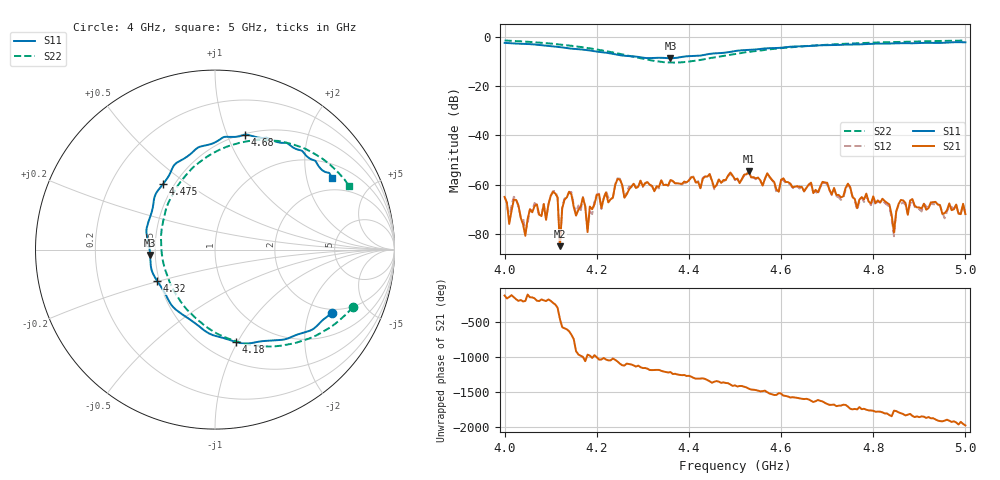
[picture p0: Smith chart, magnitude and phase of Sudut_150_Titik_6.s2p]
# Hz S RI R 50
! CMT, C1220, 16058040, 17.2.0/1
! Date: 15/08/2018 12:11:00
! Data: Format (Calibration Info)
! Freq  S11: Re/Im (F2)  S21: Re/Im (F2)  S12: Re/Im (F2)  S22: Re/Im (F2)
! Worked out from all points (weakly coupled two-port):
!   201 points, 4 GHz to 5 GHz, reference 50 ohm
!   highest |S21| = -54.65 dB at 4.53 GHz (marker M1); lowest = -85.0 dB at 4.12 GHz (marker M2)
!   lowest |S11| = -8.8 dB at 4.36 GHz (marker M3), VSWR 2.14, Z = 23.4 - j1.6 ohm
!   |S11| at or under -10 dB: nowhere
!   |S22| runs from -10.6 to -1.6 dB; largest |S21 - S12| = 0.00014
!   S11 on the Smith chart (normalised r, x): 4 GHz: 1.84, -2.89; 4.18 GHz: 0.69, -0.99; 4.32 GHz: 0.49, -0.20; 4.475 GHz: 0.44, +0.41; 4.68 GHz: 0.51, +1.16; 5 GHz: 1.47, +2.83
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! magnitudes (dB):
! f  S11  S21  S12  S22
! 4 GHz  -2.6  -65.0  -65.1  -1.6
! 4.01 GHz  -2.7  -76.0  -74.3  -1.7
! 4.045 GHz  -3.0  -80.8  -78.8  -2.1
! 4.11 GHz  -4.1  -63.6  -62.6  -3.0
! 4.12 GHz  -4.3  -85.0  -84.4  -3.2
! 4.13 GHz  -4.6  -66.1  -65.7  -3.4
! 4.17 GHz  -5.3  -65.2  -65.1  -4.4
! 4.18 GHz  -5.5  -79.2  -77.8  -4.7
! 4.185 GHz  -5.7  -68.9  -71.0  -4.8
! 4.245 GHz  -7.4  -57.8  -57.5  -6.8
! 4.32 GHz  -8.7  -60.6  -60.7  -9.7
! 4.335 GHz  -8.6  -61.0  -61.6  -10.2
! 4.36 GHz  -8.8  -58.2  -58.0  -10.5
! 4.475 GHz  -6.6  -58.2  -58.7  -7.8
! 4.5 GHz  -5.9  -57.9  -58.1  -7.1
! 4.53 GHz  -5.5  -54.6  -54.8  -6.2
! 4.67 GHz  -3.7  -63.5  -63.2  -3.7
! 4.68 GHz  -3.6  -63.1  -63.9  -3.5
! 4.835 GHz  -2.9  -68.0  -68.8  -2.3
! 4.845 GHz  -2.8  -79.3  -80.9  -2.2
! 4.86 GHz  -2.7  -66.2  -67.8  -2.1
! 5 GHz  -2.3  -71.9  -71.7  -1.6
